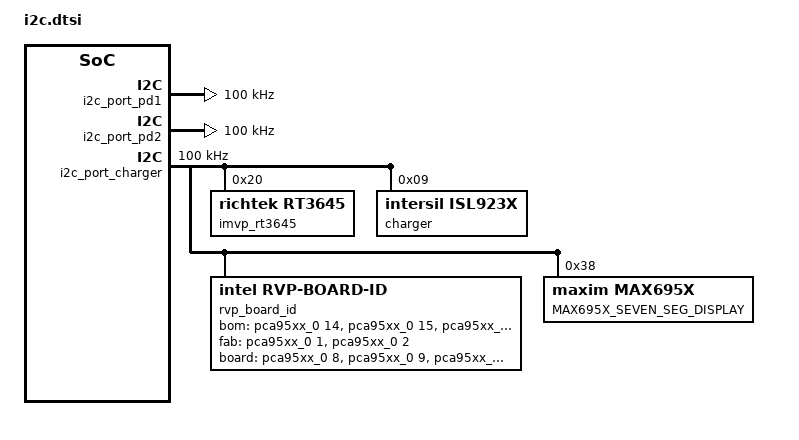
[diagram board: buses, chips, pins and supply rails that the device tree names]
/* Copyright 2026 The ChromiumOS Authors
 * Use of this source code is governed by a BSD-style license that can be
 * found in the LICENSE file.
 */

/ {
	named-i2c-ports {
		compatible = "named-i2c-ports";

		i2c_named_i2c_port_pd1: named_i2c_port_pd_aic1 {
			i2c-port = <&i2c_port_pd1>;
			enum-names = "I2C_PORT_PD";
		};
		i2c_named_i2c_port_pd2: named_i2c_port_pd_aic2 {
			i2c-port = <&i2c_port_pd2>;
			enum-names = "I2C_PORT_PD_SPARE";
		};
		i2c_named_i2c_port_charger: named_i2c_port_charger {
			i2c-port = <&i2c_port_charger>;
			enum-names = "I2C_PORT_BATTERY",
				"I2C_PORT_CHARGER",
				"I2C_PORT_PORT80";
		};
	};
};

&i2c_port_pd1 {
	label = "I2C_PORT_PD";
	clock-frequency = <I2C_BITRATE_STANDARD>;
};

&i2c_port_pd2 {
	/* Port not used. All PDCs on bus i2c_port_pd1 */
	label = "I2C_PORT_PD_SPARE";
	clock-frequency = <I2C_BITRATE_STANDARD>;
};

&i2c_port_charger {
	label = "I2C_PORT_CHARGER";
	clock-frequency = <I2C_BITRATE_STANDARD>;

	imvp_rt3645: richtek-imvp@20 {
		compatible = "richtek,rt3645";
		status = "okay";
		reg = <0x20>;
	};
	charger: isl9238@9 {
		compatible = "intersil,isl923x";
		status = "okay";
		reg = <0x9>;
	};
	rvp_board_id: rvp-board-id {
		compatible = "intel,rvp-board-id";
		defer-until-s5 = <&pca95xx_0>;
		handler = "rvp_id_handler";
		bom-gpios = <&pca95xx_0 14 0>, <&pca95xx_0 15 0>,
			    <&pca95xx_0 0 0>;

		fab-gpios = <&pca95xx_0 1 0>, <&pca95xx_0 2 0>;

		board-gpios = <&pca95xx_0 8 0>, <&pca95xx_0 9 0>,
			      <&pca95xx_0 10 0>, <&pca95xx_0 11 0>,
			      <&pca95xx_0 12 0>, <&pca95xx_0 13 0>;
		zephyr,deferred-init;
	};
	seven_seg_display: max695x-seven-seg-display@38 {
		compatible = "maxim,max695x";
		reg = <0x38>;
		label = "MAX695X_SEVEN_SEG_DISPLAY";
	};
};

